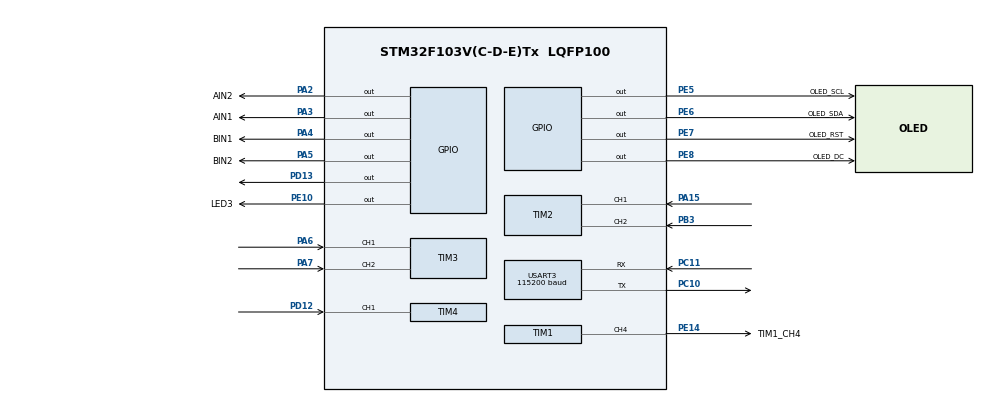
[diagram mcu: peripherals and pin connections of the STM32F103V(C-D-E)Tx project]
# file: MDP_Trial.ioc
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FREERTOS.Tasks01=defaultTask,24,128,StartDefaultTask,Default,NULL,Dynamic,NULL,NULL;ShowTask,8,128,show,Default,NULL,Dynamic,NULL,NULL;MotorTask,8,128,motors,Default,NULL,Dynamic,NULL,NULL;EncoderTask,8,128,encoder_task,Default,NULL,Dynamic,NULL,NULL
Mcu.Family=STM32F1
Mcu.Name=STM32F103V(C-D-E)Tx
Mcu.Package=LQFP100
NVIC.PriorityGroup=NVIC_PRIORITYGROUP_4
NVIC.TIM4_IRQn=true\:5\:0\:false\:false\:true\:true\:true\:true
NVIC.USART3_IRQn=true\:5\:0\:false\:false\:true\:true\:true\:true
PA15.Signal=S_TIM2_CH1_ETR
PA2.GPIO_Label=AIN2
PA2.GPIO_Speed=GPIO_SPEED_FREQ_HIGH
PA2.Signal=GPIO_Output
PA3.GPIO_Label=AIN1
PA3.GPIO_Speed=GPIO_SPEED_FREQ_HIGH
PA3.Signal=GPIO_Output
PA4.GPIO_Label=BIN1
PA4.Signal=GPIO_Output
PA5.GPIO_Label=BIN2
PA5.Signal=GPIO_Output
PA6.Signal=S_TIM3_CH1
PA7.Signal=S_TIM3_CH2
PB3.Signal=S_TIM2_CH2
PC10.Mode=Asynchronous
PC10.Signal=USART3_TX
PC11.Mode=Asynchronous
PC11.Signal=USART3_RX
PC6.GPIO_Label=PWMA
PC6.Signal=S_TIM8_CH1
PC7.GPIO_Label=PWMB
PC7.Signal=S_TIM8_CH2
PD12.Signal=S_TIM4_CH1
PD13.Signal=GPIO_Output
PE10.GPIO_Label=LED3
PE10.Signal=GPIO_Output
PE14.GPIO_Label=TIM1_CH4
PE14.Signal=S_TIM1_CH4
PE5.GPIO_Label=OLED_SCL
PE5.Signal=GPIO_Output
PE6.GPIO_Label=OLED_SDA
PE6.Signal=GPIO_Output
PE7.GPIO_Label=OLED_RST
PE7.Signal=GPIO_Output
PE8.GPIO_Label=OLED_DC
PE8.Signal=GPIO_Output
ProjectManager.HeapSize=0x200
ProjectManager.StackSize=0x400
ProjectManager.TargetToolchain=STM32CubeIDE
RCC.APB1Freq_Value=8000000
RCC.APB2Freq_Value=8000000
SH.S_TIM1_CH4.0=TIM1_CH4,PWM Generation4 CH4
SH.S_TIM2_CH1_ETR.0=TIM2_CH1,Encoder_Interface
SH.S_TIM2_CH2.0=TIM2_CH2,Encoder_Interface
SH.S_TIM3_CH1.0=TIM3_CH1,Encoder_Interface
SH.S_TIM3_CH2.0=TIM3_CH2,Encoder_Interface
SH.S_TIM4_CH1.0=TIM4_CH1,Input_Capture1_from_TI1
SH.S_TIM8_CH1.0=TIM8_CH1
SH.S_TIM8_CH2.0=TIM8_CH2
TIM1.AutoReloadPreload=TIM_AUTORELOAD_PRELOAD_ENABLE
TIM1.Channel-PWM\ Generation4\ CH4=TIM_CHANNEL_4
TIM1.Period=1000
TIM1.Prescaler=160
TIM2.EncoderMode=TIM_ENCODERMODE_TI12
TIM2.IC1Filter=10
TIM2.IC2Filter=10
TIM3.EncoderMode=TIM_ENCODERMODE_TI12
TIM3.IC1Filter=10
TIM3.IC2Filter=10
TIM4.Channel-Input_Capture1_from_TI1=TIM_CHANNEL_1
TIM4.Period=0xffff-1
TIM4.Prescaler=8
TIM8.Channel-PWM\ Generation1\ No\ Output=TIM_CHANNEL_1
TIM8.Channel-PWM\ Generation2\ No\ Output=TIM_CHANNEL_2
TIM8.Period=7199
USART3.BaudRate=115200
USART3.VirtualMode=VM_ASYNC
VP_FREERTOS_VS_CMSIS_V2.Mode=CMSIS_V2
VP_SYS_VS_ND.Mode=No_Debug
VP_TIM1_VS_ClockSourceINT.Mode=Internal
VP_TIM8_VS_ClockSourceINT.Mode=Internal
VP_TIM8_VS_no_output1.Mode=PWM Generation1 No Output
VP_TIM8_VS_no_output2.Mode=PWM Generation2 No Output
board=custom

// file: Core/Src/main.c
/* USER CODE BEGIN Header */
/**
  ******************************************************************************
  * @file           : main.c
  * @brief          : Main program body
  ******************************************************************************
  * @attention
  *
  * <h2><center>&copy; Copyright (c) 2021 STMicroelectronics.
  * All rights reserved.</center></h2>
  *
  * This software component is licensed by ST under BSD 3-Clause license,
  * the "License"; You may not use this file except in compliance with the
  * License. You may obtain a copy of the License at:
  *                        opensource.org/licenses/BSD-3-Clause
  *
  ******************************************************************************
  */
/* USER CODE END Header */
#include "main.h"
#include "cmsis_os.h"

/* USER CODE BEGIN Includes */
#include "oled.h"
/* USER CODE END Includes */

TIM_HandleTypeDef htim1;
TIM_HandleTypeDef htim2;
TIM_HandleTypeDef htim3;
TIM_HandleTypeDef htim4;
TIM_HandleTypeDef htim8;

UART_HandleTypeDef huart3;

/* Definitions for defaultTask */
osThreadId_t defaultTaskHandle;
const osThreadAttr_t defaultTask_attributes = {
  .name = "defaultTask",
  .stack_size = 128 * 4,
  .priority = (osPriority_t) osPriorityNormal,
};
/* Definitions for ShowTask */
osThreadId_t ShowTaskHandle;
const osThreadAttr_t ShowTask_attributes = {
  .name = "ShowTask",
  .stack_size = 128 * 4,
  .priority = (osPriority_t) osPriorityLow,
};
/* Definitions for MotorTask */
osThreadId_t MotorTaskHandle;
const osThreadAttr_t MotorTask_attributes = {
  .name = "MotorTask",
  .stack_size = 128 * 4,
  .priority = (osPriority_t) osPriorityLow,
};
/* Definitions for EncoderTask */
osThreadId_t EncoderTaskHandle;
const osThreadAttr_t EncoderTask_attributes = {
  .name = "EncoderTask",
  .stack_size = 128 * 4,
  .priority = (osPriority_t) osPriorityLow,
};

void SystemClock_Config(void);
static void MX_GPIO_Init(void);
static void MX_TIM8_Init(void);
static void MX_TIM2_Init(void);
static void MX_TIM1_Init(void);
static void MX_USART3_UART_Init(void);
static void MX_TIM3_Init(void);
static void MX_TIM4_Init(void);
void StartDefaultTask(void *argument);
void show(void *argument);
void motors(void *argument);
void encoder_task(void *argument);

/* USER CODE BEGIN 0 */

uint8_t aRxBuffer[100];
uint8_t aTxBuffer[1];
void delay(uint16_t time)
{
	__HAL_TIM_SET_COUNTER(&htim4, 0);
	while(__HAL_TIM_GET_COUNTER(&htim4) < time);
}

uint32_t IC_Val1 = 0;
uint32_t IC_Val2 = 0;
uint32_t Difference = 0;
uint8_t Is_First_Captured = 0;  // is the first value captured ?
uint8_t Distance  = 0;

#define TRIG_PIN GPIO_PIN_13
#define TRIG_PORT GPIOD

void HAL_TIM_IC_CaptureCallback(TIM_HandleTypeDef *htim)
{
	if (htim->Channel == HAL_TIM_ACTIVE_CHANNEL_1)  // if the interrupt source is channel1
	{
		if (Is_First_Captured==0) // if the first value is not captured
		{
			IC_Val1 = HAL_TIM_ReadCapturedValue(htim, TIM_CHANNEL_1); // read the first value
			Is_First_Captured = 1;  // set the first captured as true
			// Now change the polarity to falling edge
			__HAL_TIM_SET_CAPTUREPOLARITY(htim, TIM_CHANNEL_1, TIM_INPUTCHANNELPOLARITY_FALLING);
		}

		else if (Is_First_Captured==1)   // if the first is already captured
		{
			IC_Val2 = HAL_TIM_ReadCapturedValue(htim, TIM_CHANNEL_1);  // read second value
			__HAL_TIM_SET_COUNTER(htim, 0);  // reset the counter

			if (IC_Val2 > IC_Val1)
			{
				Difference = IC_Val2-IC_Val1;
			}

			else if (IC_Val1 > IC_Val2)
			{
				Difference = (0xffff - IC_Val1) + IC_Val2;
			}

			Distance = Difference * .034/2;
			Is_First_Captured = 0; // set it back to false

			// set polarity to rising edge
			uint8_t hello[20];
			sprintf(hello,"dist: %5d\0", Distance);
			OLED_ShowString(0,30,hello);
			OLED_Refresh_Gram();
			__HAL_TIM_SET_CAPTUREPOLARITY(htim, TIM_CHANNEL_1, TIM_INPUTCHANNELPOLARITY_RISING);
			__HAL_TIM_DISABLE_IT(&htim4, TIM_IT_CC1);
		}
	}
}

void HCSR04_Read (void)
{
	HAL_GPIO_WritePin(TRIG_PORT, TRIG_PIN, GPIO_PIN_SET);  // pull the TRIG pin HIGH
	delay(10);  // wait for 10 us
	HAL_GPIO_WritePin(TRIG_PORT, TRIG_PIN, GPIO_PIN_RESET);  // pull the TRIG pin low

	__HAL_TIM_ENABLE_IT(&htim4, TIM_IT_CC1);
}
/* USER CODE END 0 */

int main(void)
{

  /* MCU Configuration--------------------------------------------------------*/

  /* Reset of all peripherals, Initializes the Flash interface and the Systick. */
  HAL_Init();

  /* Configure the system clock */
  SystemClock_Config();

  /* Initialize all configured peripherals */
  MX_GPIO_Init();
  MX_TIM8_Init();
  MX_TIM2_Init();
  MX_TIM1_Init();
  MX_USART3_UART_Init();
  MX_TIM3_Init();
  MX_TIM4_Init();
  /* USER CODE BEGIN 2 */

  OLED_Init();
  HAL_UART_Receive_IT(&huart3, (uint8_t *) aRxBuffer, 100);
  HAL_UART_Transmit_IT(&huart3, (uint8_t *) aTxBuffer, 1);
  HAL_TIM_IC_Start_IT(&htim4, TIM_CHANNEL_1);
  /* USER CODE END 2 */

  /* Init scheduler */
  osKernelInitialize();

  /* Create the thread(s) */
  /* creation of defaultTask */
  defaultTaskHandle = osThreadNew(StartDefaultTask, NULL, &defaultTask_attributes);

  /* creation of ShowTask */
  ShowTaskHandle = osThreadNew(show, NULL, &ShowTask_attributes);

  /* creation of MotorTask */
  MotorTaskHandle = osThreadNew(motors, NULL, &MotorTask_attributes);

  /* creation of EncoderTask */
  EncoderTaskHandle = osThreadNew(encoder_task, NULL, &EncoderTask_attributes);

  /* Start scheduler */
  osKernelStart();

  /* We should never get here as control is now taken by the scheduler */
  /* Infinite loop */
  while (1)
  {

  }
}

void SystemClock_Config(void)
{
  RCC_OscInitTypeDef RCC_OscInitStruct = {0};
  RCC_ClkInitTypeDef RCC_ClkInitStruct = {0};

  /** Initializes the RCC Oscillators according to the specified parameters
  * in the RCC_OscInitTypeDef structure.
  */
  RCC_OscInitStruct.OscillatorType = RCC_OSCILLATORTYPE_HSI;
  RCC_OscInitStruct.HSIState = RCC_HSI_ON;
  RCC_OscInitStruct.HSICalibrationValue = RCC_HSICALIBRATION_DEFAULT;
  RCC_OscInitStruct.PLL.PLLState = RCC_PLL_NONE;
  if (HAL_RCC_OscConfig(&RCC_OscInitStruct) != HAL_OK)
  {
    Error_Handler();
  }
  /** Initializes the CPU, AHB and APB buses clocks
  */
  RCC_ClkInitStruct.ClockType = RCC_CLOCKTYPE_HCLK|RCC_CLOCKTYPE_SYSCLK
                              |RCC_CLOCKTYPE_PCLK1|RCC_CLOCKTYPE_PCLK2;
  RCC_ClkInitStruct.SYSCLKSource = RCC_SYSCLKSOURCE_HSI;
  RCC_ClkInitStruct.AHBCLKDivider = RCC_SYSCLK_DIV1;
  RCC_ClkInitStruct.APB1CLKDivider = RCC_HCLK_DIV1;
  RCC_ClkInitStruct.APB2CLKDivider = RCC_HCLK_DIV1;

  if (HAL_RCC_ClockConfig(&RCC_ClkInitStruct, FLASH_LATENCY_0) != HAL_OK)
  {
    Error_Handler();
  }
}

static void MX_TIM1_Init(void)
{

  TIM_ClockConfigTypeDef sClockSourceConfig = {0};
  TIM_MasterConfigTypeDef sMasterConfig = {0};
  TIM_OC_InitTypeDef sConfigOC = {0};
  TIM_BreakDeadTimeConfigTypeDef sBreakDeadTimeConfig = {0};

  htim1.Instance = TIM1;
  htim1.Init.Prescaler = 160;
  htim1.Init.CounterMode = TIM_COUNTERMODE_UP;
  htim1.Init.Period = 1000;
  htim1.Init.ClockDivision = TIM_CLOCKDIVISION_DIV1;
  htim1.Init.RepetitionCounter = 0;
  htim1.Init.AutoReloadPreload = TIM_AUTORELOAD_PRELOAD_ENABLE;
  if (HAL_TIM_Base_Init(&htim1) != HAL_OK)
  {
    Error_Handler();
  }
  sClockSourceConfig.ClockSource = TIM_CLOCKSOURCE_INTERNAL;
  if (HAL_TIM_ConfigClockSource(&htim1, &sClockSourceConfig) != HAL_OK)
  {
    Error_Handler();
  }
  if (HAL_TIM_PWM_Init(&htim1) != HAL_OK)
  {
    Error_Handler();
  }
  sMasterConfig.MasterOutputTrigger = TIM_TRGO_RESET;
  sMasterConfig.MasterSlaveMode = TIM_MASTERSLAVEMODE_DISABLE;
  if (HAL_TIMEx_MasterConfigSynchronization(&htim1, &sMasterConfig) != HAL_OK)
  {
    Error_Handler();
  }
  sConfigOC.OCMode = TIM_OCMODE_PWM1;
  sConfigOC.Pulse = 0;
  sConfigOC.OCPolarity = TIM_OCPOLARITY_HIGH;
  sConfigOC.OCFastMode = TIM_OCFAST_DISABLE;
  sConfigOC.OCIdleState = TIM_OCIDLESTATE_RESET;
  sConfigOC.OCNIdleState = TIM_OCNIDLESTATE_RESET;
  if (HAL_TIM_PWM_ConfigChannel(&htim1, &sConfigOC, TIM_CHANNEL_4) != HAL_OK)
  {
    Error_Handler();
  }
  sBreakDeadTimeConfig.OffStateRunMode = TIM_OSSR_DISABLE;
  sBreakDeadTimeConfig.OffStateIDLEMode = TIM_OSSI_DISABLE;
  sBreakDeadTimeConfig.LockLevel = TIM_LOCKLEVEL_OFF;
  sBreakDeadTimeConfig.DeadTime = 0;
  sBreakDeadTimeConfig.BreakState = TIM_BREAK_DISABLE;
  sBreakDeadTimeConfig.BreakPolarity = TIM_BREAKPOLARITY_HIGH;
  sBreakDeadTimeConfig.AutomaticOutput = TIM_AUTOMATICOUTPUT_DISABLE;
  if (HAL_TIMEx_ConfigBreakDeadTime(&htim1, &sBreakDeadTimeConfig) != HAL_OK)
  {
    Error_Handler();
  }
  HAL_TIM_MspPostInit(&htim1);

}

static void MX_TIM2_Init(void)
{

  TIM_Encoder_InitTypeDef sConfig = {0};
  TIM_MasterConfigTypeDef sMasterConfig = {0};

  htim2.Instance = TIM2;
  htim2.Init.Prescaler = 0;
  htim2.Init.CounterMode = TIM_COUNTERMODE_UP;
  htim2.Init.Period = 65535;
  htim2.Init.ClockDivision = TIM_CLOCKDIVISION_DIV1;
  htim2.Init.AutoReloadPreload = TIM_AUTORELOAD_PRELOAD_DISABLE;
  sConfig.EncoderMode = TIM_ENCODERMODE_TI12;
  sConfig.IC1Polarity = TIM_ICPOLARITY_RISING;
  sConfig.IC1Selection = TIM_ICSELECTION_DIRECTTI;
  sConfig.IC1Prescaler = TIM_ICPSC_DIV1;
  sConfig.IC1Filter = 10;
  sConfig.IC2Polarity = TIM_ICPOLARITY_RISING;
  sConfig.IC2Selection = TIM_ICSELECTION_DIRECTTI;
  sConfig.IC2Prescaler = TIM_ICPSC_DIV1;
  sConfig.IC2Filter = 10;
  if (HAL_TIM_Encoder_Init(&htim2, &sConfig) != HAL_OK)
  {
    Error_Handler();
  }
  sMasterConfig.MasterOutputTrigger = TIM_TRGO_RESET;
  sMasterConfig.MasterSlaveMode = TIM_MASTERSLAVEMODE_DISABLE;
  if (HAL_TIMEx_MasterConfigSynchronization(&htim2, &sMasterConfig) != HAL_OK)
  {
    Error_Handler();
  }

}

static void MX_TIM3_Init(void)
{

  TIM_Encoder_InitTypeDef sConfig = {0};
  TIM_MasterConfigTypeDef sMasterConfig = {0};

  htim3.Instance = TIM3;
  htim3.Init.Prescaler = 0;
  htim3.Init.CounterMode = TIM_COUNTERMODE_UP;
  htim3.Init.Period = 65535;
  htim3.Init.ClockDivision = TIM_CLOCKDIVISION_DIV1;
  htim3.Init.AutoReloadPreload = TIM_AUTORELOAD_PRELOAD_DISABLE;
  sConfig.EncoderMode = TIM_ENCODERMODE_TI12;
  sConfig.IC1Polarity = TIM_ICPOLARITY_RISING;
  sConfig.IC1Selection = TIM_ICSELECTION_DIRECTTI;
  sConfig.IC1Prescaler = TIM_ICPSC_DIV1;
  sConfig.IC1Filter = 10;
  sConfig.IC2Polarity = TIM_ICPOLARITY_RISING;
  sConfig.IC2Selection = TIM_ICSELECTION_DIRECTTI;
  sConfig.IC2Prescaler = TIM_ICPSC_DIV1;
  sConfig.IC2Filter = 10;
  if (HAL_TIM_Encoder_Init(&htim3, &sConfig) != HAL_OK)
  {
    Error_Handler();
  }
  sMasterConfig.MasterOutputTrigger = TIM_TRGO_RESET;
  sMasterConfig.MasterSlaveMode = TIM_MASTERSLAVEMODE_DISABLE;
  if (HAL_TIMEx_MasterConfigSynchronization(&htim3, &sMasterConfig) != HAL_OK)
  {
    Error_Handler();
  }

}

static void MX_TIM4_Init(void)
{

  TIM_MasterConfigTypeDef sMasterConfig = {0};
  TIM_IC_InitTypeDef sConfigIC = {0};

  htim4.Instance = TIM4;
  htim4.Init.Prescaler = 8;
  htim4.Init.CounterMode = TIM_COUNTERMODE_UP;
  htim4.Init.Period = 0xffff-1;
  htim4.Init.ClockDivision = TIM_CLOCKDIVISION_DIV1;
  htim4.Init.AutoReloadPreload = TIM_AUTORELOAD_PRELOAD_DISABLE;
  if (HAL_TIM_IC_Init(&htim4) != HAL_OK)
  {
    Error_Handler();
  }
  sMasterConfig.MasterOutputTrigger = TIM_TRGO_RESET;
  sMasterConfig.MasterSlaveMode = TIM_MASTERSLAVEMODE_DISABLE;
  if (HAL_TIMEx_MasterConfigSynchronization(&htim4, &sMasterConfig) != HAL_OK)
  {
    Error_Handler();
  }
  sConfigIC.ICPolarity = TIM_INPUTCHANNELPOLARITY_RISING;
  sConfigIC.ICSelection = TIM_ICSELECTION_DIRECTTI;
  sConfigIC.ICPrescaler = TIM_ICPSC_DIV1;
  sConfigIC.ICFilter = 0;
  if (HAL_TIM_IC_ConfigChannel(&htim4, &sConfigIC, TIM_CHANNEL_1) != HAL_OK)
  {
    Error_Handler();
  }

}

static void MX_TIM8_Init(void)
{

  TIM_ClockConfigTypeDef sClockSourceConfig = {0};
  TIM_MasterConfigTypeDef sMasterConfig = {0};
  TIM_OC_InitTypeDef sConfigOC = {0};
  TIM_BreakDeadTimeConfigTypeDef sBreakDeadTimeConfig = {0};

  htim8.Instance = TIM8;
  htim8.Init.Prescaler = 0;
  htim8.Init.CounterMode = TIM_COUNTERMODE_UP;
  htim8.Init.Period = 7199;
  htim8.Init.ClockDivision = TIM_CLOCKDIVISION_DIV1;
  htim8.Init.RepetitionCounter = 0;
  htim8.Init.AutoReloadPreload = TIM_AUTORELOAD_PRELOAD_DISABLE;
  if (HAL_TIM_Base_Init(&htim8) != HAL_OK)
  {
    Error_Handler();
  }
  sClockSourceConfig.ClockSource = TIM_CLOCKSOURCE_INTERNAL;
  if (HAL_TIM_ConfigClockSource(&htim8, &sClockSourceConfig) != HAL_OK)
  {
    Error_Handler();
  }
  if (HAL_TIM_PWM_Init(&htim8) != HAL_OK)
  {
    Error_Handler();
  }
  sMasterConfig.MasterOutputTrigger = TIM_TRGO_RESET;
  sMasterConfig.MasterSlaveMode = TIM_MASTERSLAVEMODE_DISABLE;
  if (HAL_TIMEx_MasterConfigSynchronization(&htim8, &sMasterConfig) != HAL_OK)
  {
    Error_Handler();
  }
  sConfigOC.OCMode = TIM_OCMODE_PWM1;
  sConfigOC.Pulse = 0;
  sConfigOC.OCPolarity = TIM_OCPOLARITY_HIGH;
  sConfigOC.OCNPolarity = TIM_OCNPOLARITY_HIGH;
  sConfigOC.OCFastMode = TIM_OCFAST_DISABLE;
  sConfigOC.OCIdleState = TIM_OCIDLESTATE_RESET;
  sConfigOC.OCNIdleState = TIM_OCNIDLESTATE_RESET;
  if (HAL_TIM_PWM_ConfigChannel(&htim8, &sConfigOC, TIM_CHANNEL_1) != HAL_OK)
  {
    Error_Handler();
  }
  if (HAL_TIM_PWM_ConfigChannel(&htim8, &sConfigOC, TIM_CHANNEL_2) != HAL_OK)
  {
    Error_Handler();
  }
  sBreakDeadTimeConfig.OffStateRunMode = TIM_OSSR_DISABLE;
  sBreakDeadTimeConfig.OffStateIDLEMode = TIM_OSSI_DISABLE;
  sBreakDeadTimeConfig.LockLevel = TIM_LOCKLEVEL_OFF;
  sBreakDeadTimeConfig.DeadTime = 0;
  sBreakDeadTimeConfig.BreakState = TIM_BREAK_DISABLE;
  sBreakDeadTimeConfig.BreakPolarity = TIM_BREAKPOLARITY_HIGH;
  sBreakDeadTimeConfig.AutomaticOutput = TIM_AUTOMATICOUTPUT_DISABLE;
  if (HAL_TIMEx_ConfigBreakDeadTime(&htim8, &sBreakDeadTimeConfig) != HAL_OK)
  {
    Error_Handler();
  }

}

static void MX_USART3_UART_Init(void)
{

  huart3.Instance = USART3;
  huart3.Init.BaudRate = 115200;
  huart3.Init.WordLength = UART_WORDLENGTH_8B;
  huart3.Init.StopBits = UART_STOPBITS_1;
  huart3.Init.Parity = UART_PARITY_NONE;
  huart3.Init.Mode = UART_MODE_TX_RX;
  huart3.Init.HwFlowCtl = UART_HWCONTROL_NONE;
  huart3.Init.OverSampling = UART_OVERSAMPLING_16;
  if (HAL_UART_Init(&huart3) != HAL_OK)
  {
    Error_Handler();
  }

}

static void MX_GPIO_Init(void)
{
  GPIO_InitTypeDef GPIO_InitStruct = {0};

  /* GPIO Ports Clock Enable */
  __HAL_RCC_GPIOE_CLK_ENABLE();
  __HAL_RCC_GPIOA_CLK_ENABLE();
  __HAL_RCC_GPIOD_CLK_ENABLE();
  __HAL_RCC_GPIOC_CLK_ENABLE();
  __HAL_RCC_GPIOB_CLK_ENABLE();

  /*Configure GPIO pin Output Level */
  HAL_GPIO_WritePin(GPIOE, OLED_SCL_Pin|OLED_SDA_Pin|OLED_RST_Pin|OLED_DC_Pin
                          |LED3_Pin, GPIO_PIN_RESET);

  /*Configure GPIO pin Output Level */
  HAL_GPIO_WritePin(GPIOA, AIN2_Pin|AIN1_Pin|BIN1_Pin|BIN2_Pin, GPIO_PIN_RESET);

  /*Configure GPIO pin Output Level */
  HAL_GPIO_WritePin(GPIOD, GPIO_PIN_13, GPIO_PIN_RESET);

  /*Configure GPIO pins : OLED_SCL_Pin OLED_SDA_Pin OLED_RST_Pin OLED_DC_Pin
                           LED3_Pin */
  GPIO_InitStruct.Pin = OLED_SCL_Pin|OLED_SDA_Pin|OLED_RST_Pin|OLED_DC_Pin
                          |LED3_Pin;
  GPIO_InitStruct.Mode = GPIO_MODE_OUTPUT_PP;
  GPIO_InitStruct.Pull = GPIO_NOPULL;
  GPIO_InitStruct.Speed = GPIO_SPEED_FREQ_LOW;
  HAL_GPIO_Init(GPIOE, &GPIO_InitStruct);

  /*Configure GPIO pins : AIN2_Pin AIN1_Pin */
  GPIO_InitStruct.Pin = AIN2_Pin|AIN1_Pin;
  GPIO_InitStruct.Mode = GPIO_MODE_OUTPUT_PP;
  GPIO_InitStruct.Pull = GPIO_NOPULL;
  GPIO_InitStruct.Speed = GPIO_SPEED_FREQ_HIGH;
  HAL_GPIO_Init(GPIOA, &GPIO_InitStruct);

  /*Configure GPIO pins : BIN1_Pin BIN2_Pin */
  GPIO_InitStruct.Pin = BIN1_Pin|BIN2_Pin;
  GPIO_InitStruct.Mode = GPIO_MODE_OUTPUT_PP;
  GPIO_InitStruct.Pull = GPIO_NOPULL;
  GPIO_InitStruct.Speed = GPIO_SPEED_FREQ_LOW;
  HAL_GPIO_Init(GPIOA, &GPIO_InitStruct);

  /*Configure GPIO pin : PD13 */
  GPIO_InitStruct.Pin = GPIO_PIN_13;
  GPIO_InitStruct.Mode = GPIO_MODE_OUTPUT_PP;
  GPIO_InitStruct.Pull = GPIO_NOPULL;
  GPIO_InitStruct.Speed = GPIO_SPEED_FREQ_LOW;
  HAL_GPIO_Init(GPIOD, &GPIO_InitStruct);

}

/* USER CODE BEGIN 4 */

void HAL_UART_RxCpltCallback(UART_HandleTypeDef *huart)
{
	//Prevent unused arguments(s) compilation warning
	UNUSED(huart);

	HAL_UART_Transmit(&huart3, (uint8_t *)aTxBuffer, 1, 0xFFFF);
	//HAL_UART_Receive(&huart3, (uint8_t *)aTxBuffer, 200, 0xFFFF);
	HAL_UART_Receive_IT(&huart3, aRxBuffer, 100);
	//HAL_UART_Transmit_IT(&huart3, aTxBuffer, 200);
}
/* USER CODE END 4 */

void StartDefaultTask(void *argument)
{
  /* USER CODE BEGIN 5 */
  /* Infinite loop */
	//uint8_t ch = 'A';
  for(;;)
  {
	  //HAL_UART_Transmit(&huart3, (uint8_t *) &ch, 1, 0xFFFF); //will remove later on
	  //if (ch < 'Z')//
		  //ch++;//
	  //else ch = 'A';//
	  HAL_GPIO_TogglePin(LED3_GPIO_Port, LED3_Pin);
    osDelay(5000); //Toggle every 5s
  }
  /* USER CODE END 5 */
}

void show(void *argument)
{
  /* USER CODE BEGIN show */
	uint8_t hello[20] = "MDP Grp 17\0";
	uint8_t hello1[20];
  /* Infinite loop */
  for(;;)
  {
	  HCSR04_Read();
	  HAL_Delay(200);
	  OLED_ShowString(0,0,hello);
	  sprintf(hello1,"%s\0",aRxBuffer);
	  OLED_ShowString(0,40,hello1);
	  OLED_Refresh_Gram();
    //osDelay(1000);
  }
  /* USER CODE END show */
}

void forward(int time)
{
//	if(Distance < 20)
//	{
//		osDelay(time);
//	}
//	else
//	{
		uint16_t pwmValA = 3000;
		uint16_t pwmValB = 2890;//change when charge or on that day
		center();
		HAL_GPIO_WritePin(GPIOA, AIN2_Pin, GPIO_PIN_SET);
		HAL_GPIO_WritePin(GPIOA, AIN1_Pin, GPIO_PIN_RESET);
		HAL_GPIO_WritePin(GPIOA, BIN2_Pin, GPIO_PIN_SET);
		HAL_GPIO_WritePin(GPIOA, BIN1_Pin, GPIO_PIN_RESET);
		__HAL_TIM_SetCompare(&htim8, TIM_CHANNEL_1, pwmValA);
		__HAL_TIM_SetCompare(&htim8, TIM_CHANNEL_2, pwmValB);
		osDelay(time);
//		float t = time / 1000;
//		float j = 2.45;//2.45;
//		while (j<=t)
//		{
//			osDelay(800);
//			htim1.Instance->CCR4 = 84;
//			osDelay(120);
//			htim1.Instance->CCR4 = 62;
//			osDelay(50);
//			htim1.Instance->CCR4 = 75;
//			j++;
//		}
//		if (t < j)
//		{
//			osDelay(time);
//		}
//	}
}
void forwards()
{
	while(Distance > 43)
	{
		uint16_t pwmValA = 4000; //4000 in lab or 3750
		uint16_t pwmValB = 3920;//change when charge or on that day or 4000
		center();
		HAL_GPIO_WritePin(GPIOA, AIN2_Pin, GPIO_PIN_SET);
		HAL_GPIO_WritePin(GPIOA, AIN1_Pin, GPIO_PIN_RESET);
		HAL_GPIO_WritePin(GPIOA, BIN2_Pin, GPIO_PIN_SET);
		HAL_GPIO_WritePin(GPIOA, BIN1_Pin, GPIO_PIN_RESET);
		__HAL_TIM_SetCompare(&htim8, TIM_CHANNEL_1, pwmValA);
		__HAL_TIM_SetCompare(&htim8, TIM_CHANNEL_2, pwmValB);
		//float t = 3000 / 1000;
		//float j = 2.45;//2.45;
		//while (1)
		//{
//			osDelay(1000);
//			htim1.Instance->CCR4 = 84;
//			osDelay(120);
//			htim1.Instance->CCR4 = 62;
//			osDelay(80);
//			htim1.Instance->CCR4 = 75;
			//osDelay(50);
			//j++;
		//}
	}
}
void reverse(int time)
{
	uint16_t pwmValA=2000;
	uint16_t pwmValB=1880;//change when charge or on that day
	HAL_GPIO_WritePin(GPIOA, AIN2_Pin, GPIO_PIN_RESET);
	HAL_GPIO_WritePin(GPIOA, AIN1_Pin, GPIO_PIN_SET);
	HAL_GPIO_WritePin(GPIOA, BIN2_Pin, GPIO_PIN_RESET);
	HAL_GPIO_WritePin(GPIOA, BIN1_Pin, GPIO_PIN_SET);
	__HAL_TIM_SetCompare(&htim8, TIM_CHANNEL_1, pwmValA);
	__HAL_TIM_SetCompare(&htim8, TIM_CHANNEL_2, pwmValB);
	float t = time / 1000;
	float j = 0.45;//2.45;
//	while (j<=t)
//	{
//		osDelay(1000);
//		htim1.Instance->CCR4 = 84;
//		osDelay(120);
//		htim1.Instance->CCR4 = 62;
//		osDelay(50);
//		htim1.Instance->CCR4 = 75;
//		j++;
//	}
	if (t < j)
	{
		osDelay(time);
	}
}
void leftmove(int time)
{
	uint16_t pwmValA=0;
	uint16_t pwmValB=4000; //3000 lab
	htim1.Instance->CCR4 = 62;    //extreme left 67
	HAL_GPIO_WritePin(GPIOA, AIN2_Pin, GPIO_PIN_RESET);
	HAL_GPIO_WritePin(GPIOA, AIN1_Pin, GPIO_PIN_SET);
	HAL_GPIO_WritePin(GPIOA, BIN2_Pin, GPIO_PIN_SET);
	HAL_GPIO_WritePin(GPIOA, BIN1_Pin, GPIO_PIN_RESET);
	__HAL_TIM_SetCompare(&htim8, TIM_CHANNEL_1, pwmValA);
	__HAL_TIM_SetCompare(&htim8, TIM_CHANNEL_2, pwmValB);
	osDelay(time);
}
void rightmove(int time)
{
	uint16_t pwmValA=4000; //3000 lab
	uint16_t pwmValB=0;
	htim1.Instance->CCR4 = 90;    //extreme right 84
	HAL_GPIO_WritePin(GPIOA, AIN2_Pin, GPIO_PIN_SET);
	HAL_GPIO_WritePin(GPIOA, AIN1_Pin, GPIO_PIN_RESET);
	HAL_GPIO_WritePin(GPIOA, BIN2_Pin, GPIO_PIN_RESET);
	HAL_GPIO_WritePin(GPIOA, BIN1_Pin, GPIO_PIN_SET);
	__HAL_TIM_SetCompare(&htim8, TIM_CHANNEL_1, pwmValA);
	__HAL_TIM_SetCompare(&htim8, TIM_CHANNEL_2, pwmValB);
	osDelay(time);

}
void Rleftmove(int time)
{
	uint16_t pwmValA=0;
	uint16_t pwmValB=3000;
	htim1.Instance->CCR4 = 62;    //extreme left 67
	HAL_GPIO_WritePin(GPIOA, AIN2_Pin, GPIO_PIN_SET);
	HAL_GPIO_WritePin(GPIOA, AIN1_Pin, GPIO_PIN_RESET);
	HAL_GPIO_WritePin(GPIOA, BIN2_Pin, GPIO_PIN_RESET);
	HAL_GPIO_WritePin(GPIOA, BIN1_Pin, GPIO_PIN_SET);
	__HAL_TIM_SetCompare(&htim8, TIM_CHANNEL_1, pwmValA);
	__HAL_TIM_SetCompare(&htim8, TIM_CHANNEL_2, pwmValB);
	osDelay(time);
}
void Rrightmove(int time)
{
	uint16_t pwmValA=3000;
	uint16_t pwmValB=0;
	htim1.Instance->CCR4 = 90;    //extreme right 84
	HAL_GPIO_WritePin(GPIOA, AIN2_Pin, GPIO_PIN_RESET);
	HAL_GPIO_WritePin(GPIOA, AIN1_Pin, GPIO_PIN_SET);
	HAL_GPIO_WritePin(GPIOA, BIN2_Pin, GPIO_PIN_SET);
	HAL_GPIO_WritePin(GPIOA, BIN1_Pin, GPIO_PIN_RESET);
	__HAL_TIM_SetCompare(&htim8, TIM_CHANNEL_1, pwmValA);
	__HAL_TIM_SetCompare(&htim8, TIM_CHANNEL_2, pwmValB);
	osDelay(time);
}
void stop(int time)
{
	htim1.Instance->CCR4 = 75;
	uint16_t pwmValA=0;
	uint16_t pwmValB=0;
	__HAL_TIM_SetCompare(&htim8, TIM_CHANNEL_1, pwmValA);
	__HAL_TIM_SetCompare(&htim8, TIM_CHANNEL_2, pwmValB);
	osDelay(time);
}
void center()
{
	htim1.Instance->CCR4 = 75; // can change to 73
}
void left()
{
	htim1.Instance->CCR4 = 62;    //extreme left
}
void right()
{
	htim1.Instance->CCR4 = 84;    //extreme right
}
//void checkdist(int var)
//{
//	if(var == 1)
//	{
//		if (Distance < 30)
//		{
//			stop();
//		}
//	}
//	else
//	{
//		reverse(100);
//		stop();
//	}
//	if(Distance < 15)
//	{
//		reverse
//	}
//}
void sendfeedback()
{
	uint8_t ch = 'k';
	HAL_UART_Transmit(&huart3, (uint8_t *) &ch, 1, 0xFFFF);

}
void motors(void *argument)
{
  /* USER CODE BEGIN motors */
	uint16_t pwmValA, pwmValB, pwmVal = 0;
	uint8_t i = 0;
	uint8_t cmd;

	uint8_t msg[20];

	HAL_TIM_PWM_Start(&htim8, TIM_CHANNEL_1); // DC Motor
	HAL_TIM_PWM_Start(&htim8, TIM_CHANNEL_2); // DC Motor
	HAL_TIM_PWM_Start(&htim1, TIM_CHANNEL_4); // SERVO MOTOR

  /* Infinite loop */
  for(;;)
  {
	  //AIN2_Pin|AIN1_Pin
	  //BIN1_Pin|BIN2_Pin
	  //clockwise
//	  while(pwmVal < 4000)
//	  {
//		  /*HAL_GPIO_WritePin(GPIOA, AIN2_Pin, GPIO_PIN_RESET);
//		  HAL_GPIO_WritePin(GPIOA, AIN1_Pin, GPIO_PIN_SET);
//		  HAL_GPIO_WritePin(GPIOA, BIN2_Pin, GPIO_PIN_RESET);
//		  HAL_GPIO_WritePin(GPIOA, BIN1_Pin, GPIO_PIN_SET);*/
//		  HAL_GPIO_WritePin(GPIOA, AIN2_Pin, GPIO_PIN_SET);
//		  HAL_GPIO_WritePin(GPIOA, AIN1_Pin, GPIO_PIN_RESET);
//		  HAL_GPIO_WritePin(GPIOA, BIN2_Pin, GPIO_PIN_SET);
//		  HAL_GPIO_WritePin(GPIOA, BIN1_Pin, GPIO_PIN_RESET);
//		  pwmVal++;
//		  //Modify the comparison value for the duty cycle
//		  __HAL_TIM_SetCompare(&htim8, TIM_CHANNEL_1, pwmVal);
//		  __HAL_TIM_SetCompare(&htim8, TIM_CHANNEL_2, pwmVal);
//		  osDelay(10);
//	  }
//	  //anticlockwise
//	  while (pwmVal > 0)
//	  {
//		  /*HAL_GPIO_WritePin(GPIOA, AIN2_Pin, GPIO_PIN_SET);
//		  HAL_GPIO_WritePin(GPIOA, AIN1_Pin, GPIO_PIN_RESET);
//		  HAL_GPIO_WritePin(GPIOA, BIN2_Pin, GPIO_PIN_SET);
//		  HAL_GPIO_WritePin(GPIOA, BIN1_Pin, GPIO_PIN_RESET);*/
//		  HAL_GPIO_WritePin(GPIOA, AIN2_Pin, GPIO_PIN_RESET);
//		  HAL_GPIO_WritePin(GPIOA, AIN1_Pin, GPIO_PIN_SET);
//		  HAL_GPIO_WritePin(GPIOA, BIN2_Pin, GPIO_PIN_RESET);
//		  HAL_GPIO_WritePin(GPIOA, BIN1_Pin, GPIO_PIN_SET);
//		  pwmVal--;
//		  //Modify the comparison value for the duty cycle
//		  __HAL_TIM_SetCompare(&htim8, TIM_CHANNEL_1, pwmVal);
//		  __HAL_TIM_SetCompare(&htim8, TIM_CHANNEL_2, pwmVal);
//		  osDelay(10);
//	  }
	  //while(1)
	  //{
		  HAL_UART_Receive_IT(&huart3, (uint8_t *) aRxBuffer, 100);
		  cmd=aRxBuffer[i];
		  //switch(aRxBuffer[0])
		  switch(cmd)
		  {
		  case 'w':{
			  pwmValA=3000;
			  pwmValB=2890;
			  htim1.Instance->CCR4 = 75;
			  HAL_GPIO_WritePin(GPIOA, AIN2_Pin, GPIO_PIN_SET);
			  HAL_GPIO_WritePin(GPIOA, AIN1_Pin, GPIO_PIN_RESET);
			  HAL_GPIO_WritePin(GPIOA, BIN2_Pin, GPIO_PIN_SET);
			  HAL_GPIO_WritePin(GPIOA, BIN1_Pin, GPIO_PIN_RESET);
			  __HAL_TIM_SetCompare(&htim8, TIM_CHANNEL_1, pwmValA);
			  __HAL_TIM_SetCompare(&htim8, TIM_CHANNEL_2, pwmValB);
//			  osDelay(5000);
//			  pwmValA=0;
//			  pwmValB=0;
//			  __HAL_TIM_SetCompare(&htim8, TIM_CHANNEL_1, pwmValA);
//			  __HAL_TIM_SetCompare(&htim8, TIM_CHANNEL_2, pwmValB);
			  //center();
			  //forward(6000);
			  //stop(10);
			  //sendfeedback();
			  //checkdist(2);
			  i++;
			  //aRxBuffer[0] = '0';
			  break;}
//		  case 'u'://90cm
//			  center();
//			  forward(5900);
//			  stop();
//			  i++;
//			  break;
//		  case 'i'://100
//			  center();
//			  forward(6000);
//			  stop();
//			  i++;
//			  break;
//		  case 'o'://110
//			  center();
//			  forward(6800);
//			  stop();
//			  i++;
//			  break;
//		  case 'p'://120
//			  center();
//			  forward(7100);
//			  stop();
//			  i++;
//			  break;
		  case 's':{
			  center();
			  uint16_t pwmValA=2000;
			  uint16_t pwmValB=1880;//change when charge or on that day
			  HAL_GPIO_WritePin(GPIOA, AIN2_Pin, GPIO_PIN_RESET);
			  HAL_GPIO_WritePin(GPIOA, AIN1_Pin, GPIO_PIN_SET);
			  HAL_GPIO_WritePin(GPIOA, BIN2_Pin, GPIO_PIN_RESET);
			  HAL_GPIO_WritePin(GPIOA, BIN1_Pin, GPIO_PIN_SET);
			  __HAL_TIM_SetCompare(&htim8, TIM_CHANNEL_1, pwmValA);
			  __HAL_TIM_SetCompare(&htim8, TIM_CHANNEL_2, pwmValB);
//			  reverse(350);
//			  stop(500);
//			  sendfeedback();
			  i++;
//			  aRxBuffer[0] = '0';
			  break;}
		  case 'a':{
			  leftmove(900);
			  stop(500);
			  sendfeedback();
			  //checkdist(2);
//			  pwmValA = 100;
//			  pwmValB = 3000;
//			  htim1.Instance->CCR4 = 62;    //extreme left
//			  HAL_GPIO_WritePin(GPIOA, AIN2_Pin, GPIO_PIN_SET);
//			  HAL_GPIO_WritePin(GPIOA, AIN1_Pin, GPIO_PIN_RESET);
//			  HAL_GPIO_WritePin(GPIOA, BIN2_Pin, GPIO_PIN_SET);
//			  HAL_GPIO_WritePin(GPIOA, BIN1_Pin, GPIO_PIN_RESET);
//			  __HAL_TIM_SetCompare(&htim8, TIM_CHANNEL_1, pwmValA);
//			  __HAL_TIM_SetCompare(&htim8, TIM_CHANNEL_2, pwmValB);
//			  osDelay(5000);
//			  htim1.Instance->CCR4 = 75;
//			  pwmValA=0;
//			  pwmValB=0;
//			  HAL_GPIO_WritePin(GPIOA, AIN2_Pin, GPIO_PIN_SET);
//			  HAL_GPIO_WritePin(GPIOA, AIN1_Pin, GPIO_PIN_RESET);
//			  HAL_GPIO_WritePin(GPIOA, BIN2_Pin, GPIO_PIN_SET);
//			  HAL_GPIO_WritePin(GPIOA, BIN1_Pin, GPIO_PIN_RESET);
//			  __HAL_TIM_SetCompare(&htim8, TIM_CHANNEL_1, pwmValA);
//			  __HAL_TIM_SetCompare(&htim8, TIM_CHANNEL_2, pwmValB);
			  i++;
			  //aRxBuffer[0] = '0';
			  break;}
		  case 'd':{
			  rightmove(900);
			  stop(500);
			  sendfeedback();
			  //checkdist(2);
//			  pwmValA = 3000;
//			  pwmValB = 100;
//			  htim1.Instance->CCR4 = 84;    //extreme right
//			  HAL_GPIO_WritePin(GPIOA, AIN2_Pin, GPIO_PIN_SET);
//			  HAL_GPIO_WritePin(GPIOA, AIN1_Pin, GPIO_PIN_RESET);
//			  HAL_GPIO_WritePin(GPIOA, BIN2_Pin, GPIO_PIN_SET);
//			  HAL_GPIO_WritePin(GPIOA, BIN1_Pin, GPIO_PIN_RESET);
//			  __HAL_TIM_SetCompare(&htim8, TIM_CHANNEL_1, pwmValA);
//			  __HAL_TIM_SetCompare(&htim8, TIM_CHANNEL_2, pwmValB);
//			  osDelay(4500);
//			  htim1.Instance->CCR4 = 75;
//			  pwmValA=0;
//			  pwmValB=0;
//			  HAL_GPIO_WritePin(GPIOA, AIN2_Pin, GPIO_PIN_SET);
//			  HAL_GPIO_WritePin(GPIOA, AIN1_Pin, GPIO_PIN_RESET);
//			  HAL_GPIO_WritePin(GPIOA, BIN2_Pin, GPIO_PIN_SET);
//			  HAL_GPIO_WritePin(GPIOA, BIN1_Pin, GPIO_PIN_RESET);
//			  __HAL_TIM_SetCompare(&htim8, TIM_CHANNEL_1, pwmValA);
//			  __HAL_TIM_SetCompare(&htim8, TIM_CHANNEL_2, pwmValB);
			  i++;
			  //aRxBuffer[0] = '0';
			  break;}
		  case 'z':{
			  pwmValA = 300;
			  pwmValB = 2500;
			  htim1.Instance->CCR4 = 67;    //extreme left
			  HAL_GPIO_WritePin(GPIOA, AIN2_Pin, GPIO_PIN_RESET);
			  HAL_GPIO_WritePin(GPIOA, AIN1_Pin, GPIO_PIN_SET);
			  HAL_GPIO_WritePin(GPIOA, BIN2_Pin, GPIO_PIN_RESET);
			  HAL_GPIO_WritePin(GPIOA, BIN1_Pin, GPIO_PIN_SET);
			  __HAL_TIM_SetCompare(&htim8, TIM_CHANNEL_1, pwmValA);
			  __HAL_TIM_SetCompare(&htim8, TIM_CHANNEL_2, pwmValB);
			  osDelay(5000);
			  stop(500);
			  //i++;
			  aRxBuffer[0] = '0';
			  break;}
		  case 'c':{
			  pwmValA = 2500;
			  pwmValB = 300;
			  htim1.Instance->CCR4 = 84;    //extreme right
			  HAL_GPIO_WritePin(GPIOA, AIN2_Pin, GPIO_PIN_RESET);
			  HAL_GPIO_WritePin(GPIOA, AIN1_Pin, GPIO_PIN_SET);
			  HAL_GPIO_WritePin(GPIOA, BIN2_Pin, GPIO_PIN_RESET);
			  HAL_GPIO_WritePin(GPIOA, BIN1_Pin, GPIO_PIN_SET);
			  __HAL_TIM_SetCompare(&htim8, TIM_CHANNEL_1, pwmValA);
			  __HAL_TIM_SetCompare(&htim8, TIM_CHANNEL_2, pwmValB);
			  osDelay(5000);
			  stop(500);
			  //i++;
			  aRxBuffer[0] = '0';
			  break;}
		  case 'x':{
			  stop(500);
			  sendfeedback();
			  //osDelay(5000);
			  i++;
			  //aRxBuffer[0] = '0';
			  break;}
//		  case 'q':// 90 degree left
//			  leftmove(1500);
//			  stop();
//			  i++;
//			  break;
//		  case 'e': //90 degree right
//			  rightmove(1600);
//			  stop();
//			  i++;
//			  break;
//		  case 'r':// 180 degree left
//			  leftmove(2700);
//			  stop();
//			  i++;
//			  break;
//		  case 't': //180 degree right
//			  rightmove(2800);
//			  stop();
//			  i++;
//			  break;
//		  case 'f':// 270 degree left
//			  leftmove(4100);
//			  stop();
//			  i++;
//			  break;
//		  case 'g': //270 degree right
//			  rightmove(4400);
//			  stop();
//			  i++;
//			  break;
//		  case 'v':// 360 degree left
//			  leftmove(5300);
//			  stop();
//			  i++;
//			  break;
//		  case 'b': //360 degree right
//			  rightmove(5000);
//			  stop();
//			  i++;
//			  break;
		  case 'j':{
			  Rrightmove(450);
			  stop(500);
			  //osDelay(500);
			  leftmove(1050);
			  stop(500);
			  //osDelay(500);
			  //reverse(800);//
			  Rrightmove(350);// battery down: 350 else 300
			  stop(500);
			  reverse(300);// time change
			  stop(500);
			  //Rleftmove(250); //remove when battery move down (lab)
			  //Rrightmove(150);//lab
			  Rleftmove(350); // hard ground, orig val = 450 or 400
			  stop(500);         //
			  sendfeedback();
			  //i++;
			  aRxBuffer[0] = '0';
			  break;}
		  case 'k':{
			  Rleftmove(450);//500
			  stop(500);
			  //osDelay(500);
			  rightmove(950); //  1000 (lab orig)
			  stop(500);
			  //osDelay(500);
			  //reverse(800);//
			  Rleftmove(400);// time change(lab) else 250
			  stop(500);
			  reverse(550);//now hard ground time change down: 650 else 850(lab)
			  stop(500);
			  //rightmove(150); // remove (lab)
			  leftmove(200); //hard ground
			  stop(500);         //
			  sendfeedback();
			  //i++;
			  aRxBuffer[0] = '0';
			  break;}
		  case 'n':
			  forwards();
			  stop(50);
			  center();
			  //reverse(350);
			  //stop(500);
			  //leftmove(900);// lab for 3000
			  leftmove(600);
			  stop(50);
			  //forward(350);// lab for 3000
			  forward(450);
			  stop(50);
			  //rightmove(1000);//lab for 3000
			  rightmove(700);
			  stop(50);
			  //rightmove(1200);// lab for 3000
			  rightmove(800);
			  stop(50);
			  forward(980);
			  stop(50);
			  forward(200);//extra for hard ground
			  stop(50);
			  //rightmove(1000);// lab for 3000
			  rightmove(800);
			  stop(50);
			  //rightmove(1400);// lab for 3000
			  rightmove(950); //ori 900 ,> 150cm use 950, else 925
			  stop(50);
			  forward(250);// 200 for below 140, for 140 and above 400
			  //leftmove(1200);// lab for 3000
			  leftmove(850);// ori 800, 750
			  stop(50);
			  forwards();
			  stop(50);
			  forward(350);
			  stop(50);
			  aRxBuffer[0] = '0';
			  break;
		  //}
	  }
    //osDelay(1000);
  }

//	for(;;)
//	{
//		htim1.Instance->CCR4 = 84;   //extreme right84
//		osDelay(5000);
//		htim1.Instance->CCR4 = 75;    //center
//		osDelay(5000);
//		htim1.Instance->CCR4 = 67;    //extreme left
//		osDelay(5000);
//		htim1.Instance->CCR4 = 75;    //center
//		osDelay(5000);
//	}
  /* USER CODE END motors */
}

void encoder_task(void *argument)
{
  /* USER CODE BEGIN encoder_task */
	HAL_TIM_Encoder_Start(&htim2, TIM_CHANNEL_ALL);
	HAL_TIM_Encoder_Start(&htim3, TIM_CHANNEL_ALL);

	int cnt1, cnt2, diff;
	int cnt3, cnt4, diff1;
	uint32_t tick;
	uint8_t hello[20];
	uint16_t dir, dir1;

	cnt1 = __HAL_TIM_GET_COUNTER(&htim2);
	cnt3 = __HAL_TIM_GET_COUNTER(&htim3);
	tick = HAL_GetTick();
  /* Infinite loop */
  for(;;)
  {
	  if (HAL_GetTick() - tick > 1000L){
		  cnt2 = __HAL_TIM_GET_COUNTER(&htim2);
		  if (__HAL_TIM_IS_TIM_COUNTING_DOWN(&htim2)){
			  if (cnt2 < cnt1)
				  diff = cnt1 - cnt2;
			  else
				  diff = (65535 - cnt2) + cnt1;
		  }
		  else{
			  if (cnt2 > cnt1)
				  diff = cnt2 - cnt1;
			  else
				  diff = (65535 - cnt1) + cnt2;
		  }

		  cnt4 = __HAL_TIM_GET_COUNTER(&htim3);
		  if (__HAL_TIM_IS_TIM_COUNTING_DOWN(&htim3)){
			  if (cnt4 < cnt3)
				  diff1 = cnt3 - cnt4;
			  else
				  diff1 = (65535 - cnt4) + cnt3;
		  }
		  else{
			  if (cnt4 > cnt3)
				  diff1 = cnt4 - cnt3;
			  else
				  diff1 = (65535 - cnt3) + cnt4;
		  }

		  sprintf(hello, "A:%5d", diff);
		  OLED_ShowString(0, 10, hello);
		  sprintf(hello, "B:%5d", diff1);
		  OLED_ShowString(70, 10, hello);
		  dir = __HAL_TIM_IS_TIM_COUNTING_DOWN(&htim2);
		  sprintf(hello, "D: %2d", dir);
		  OLED_ShowString(0, 20, hello);
		  dir1 = __HAL_TIM_IS_TIM_COUNTING_DOWN(&htim3);
		  sprintf(hello, "D1: %2d", dir1);
		  OLED_ShowString(70, 20, hello);
		  cnt1 = __HAL_TIM_GET_COUNTER(&htim2);
		  cnt3 = __HAL_TIM_GET_COUNTER(&htim3);
		  tick = HAL_GetTick();
	  }
    //osDelay(1);
  }
  /* USER CODE END encoder_task */
}

void Error_Handler(void)
{
  __disable_irq();
  while (1)
  {
  }
}

/************************ (C) COPYRIGHT STMicroelectronics *****END OF FILE****/
